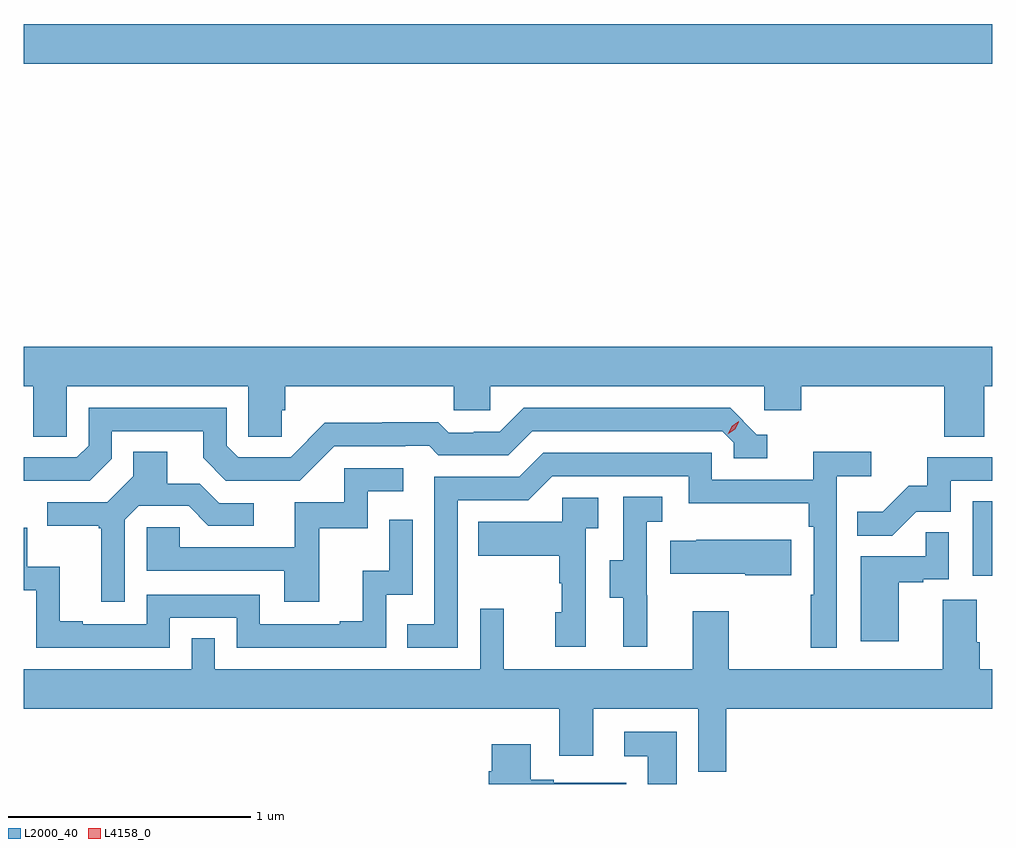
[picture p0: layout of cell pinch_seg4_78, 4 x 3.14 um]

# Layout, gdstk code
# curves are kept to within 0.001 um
import gdstk
lib = gdstk.Library(unit=1e-6, precision=1e-09)
def R(c, l, rs):  # rectangles x0, y0, x1, y1
    for r in rs: c.add(gdstk.rectangle(r[:2], r[2:], *l))
def P(c, l, *ps):  # polygons
    for p in ps: c.add(gdstk.Polygon(p, *l))
L2000_40 = (2000, 40)
L4158_0 = (4158, 0)

pinch_seg4_78 = lib.new_cell('pinch_seg4_78')
R(pinch_seg4_78, L2000_40, [(1058.69,817.35,1058.772,817.657), (1054.772,819.464,1058.772,819.628)])
P(pinch_seg4_78, L2000_40, [(1054.95,818.132),(1055.7,818.132),(1055.7,817.924),(1055.837,817.924),(1055.837,818.034),(1055.852,818.034),(1055.852,818.132),(1056.549,818.132),(1056.549,818.034),(1056.699,818.034),(1056.699,818.132),(1057.83,818.132),(1057.83,818.034),(1057.982,818.034),(1057.982,818.132),(1058.573,818.132),(1058.573,817.924),(1058.738,817.924),(1058.738,818.132),(1058.772,818.132),(1058.772,818.296),(1054.772,818.296),(1054.772,818.132),(1054.811,818.132),(1054.811,817.924),(1054.95,817.924)],
  [(1054.83,817.743),(1055.046,817.743),(1055.136,817.833),(1055.136,817.947),(1055.513,817.947),(1055.513,817.837),(1055.607,817.743),(1055.913,817.743),(1056.054,817.884),(1056.347,817.884),(1056.347,817.887),(1056.446,817.887),(1056.485,817.848),(1056.774,817.848),(1056.873,817.947),(1057.656,817.947),(1057.704,817.899),(1057.704,817.836),(1057.843,817.836),(1057.843,817.932),(1057.8,817.932),(1057.689,818.043),(1056.836,818.043),(1056.737,817.944),(1056.63,817.944),(1056.63,817.941),(1056.527,817.941),(1056.485,817.984),(1056.252,817.984),(1056.252,817.981),(1056.016,817.981),(1055.874,817.839),(1055.658,817.839),(1055.61,817.887),(1055.61,818.043),(1055.04,818.043),(1055.04,817.887),(1054.992,817.839),(1054.772,817.839),(1054.772,817.742)],
  [(1055.19,817.581),(1055.247,817.638),(1055.453,817.638),(1055.534,817.557),(1055.722,817.557),(1055.722,817.65),(1055.58,817.65),(1055.5,817.73),(1055.365,817.73),(1055.365,817.862),(1055.225,817.862),(1055.225,817.76),(1055.118,817.653),(1054.869,817.653),(1054.869,817.556),(1055.082,817.556),(1055.082,817.545),(1055.093,817.545),(1055.093,817.242),(1055.19,817.242)],
  [(1056.564,817.662),(1056.855,817.662),(1056.954,817.761),(1057.518,817.761),(1057.518,817.649),(1058.014,817.649),(1058.014,817.553),(1058.034,817.553),(1058.034,817.271),(1058.022,817.271),(1058.022,817.053),(1058.13,817.053),(1058.13,817.76),(1058.272,817.76),(1058.272,817.862),(1058.033,817.862),(1058.033,817.746),(1057.614,817.746),(1057.614,817.857),(1056.917,817.857),(1056.818,817.758),(1056.468,817.758),(1056.468,817.149),(1056.355,817.149),(1056.355,817.053),(1056.564,817.053)],
  [(1058.457,817.614),(1058.601,817.614),(1058.601,817.743),(1058.772,817.743),(1058.772,817.839),(1058.503,817.839),(1058.503,817.722),(1058.426,817.722),(1058.319,817.615),(1058.215,817.615),(1058.215,817.516),(1058.359,817.516)],
  [(1055.993,817.545),(1056.192,817.545),(1056.192,817.698),(1056.34,817.698),(1056.34,817.794),(1056.096,817.794),(1056.096,817.653),(1055.891,817.653),(1055.891,817.467),(1055.417,817.467),(1055.417,817.551),(1055.28,817.551),(1055.28,817.371),(1055.849,817.371),(1055.849,817.242),(1055.993,817.242)],
  [(1057.346,817.269),(1057.344,817.269),(1057.344,817.573),(1057.408,817.573),(1057.408,817.676),(1057.248,817.676),(1057.248,817.413),(1057.193,817.413),(1057.193,817.258),(1057.247,817.258),(1057.247,817.056),(1057.346,817.056)],
  [(1057.092,817.547),(1057.144,817.547),(1057.144,817.671),(1056.996,817.671),(1056.996,817.573),(1056.649,817.573),(1056.649,817.433),(1056.984,817.433),(1056.984,817.319),(1056.994,817.319),(1056.994,817.2),(1056.968,817.2),(1056.968,817.056),(1057.092,817.056)],
  [(1055.376,817.176),(1055.652,817.176),(1055.652,817.053),(1056.27,817.053),(1056.27,817.272),(1056.378,817.272),(1056.378,817.582),(1056.282,817.582),(1056.282,817.37),(1056.173,817.37),(1056.173,817.162),(1056.077,817.162),(1056.077,817.149),(1055.748,817.149),(1055.748,817.272),(1055.28,817.272),(1055.28,817.149),(1055.017,817.149),(1055.017,817.162),(1054.921,817.162),(1054.921,817.387),(1054.788,817.387),(1054.788,817.548),(1054.772,817.548),(1054.772,817.289),(1054.824,817.289),(1054.824,817.053),(1055.376,817.053)],
  [(1058.386,817.323),(1058.486,817.323),(1058.486,817.335),(1058.592,817.335),(1058.592,817.529),(1058.497,817.529),(1058.497,817.431),(1058.228,817.431),(1058.228,817.08),(1058.386,817.08)],
  [(1057.942,817.498),(1057.549,817.498),(1057.549,817.495),(1057.441,817.495),(1057.441,817.358),(1057.751,817.358),(1057.751,817.351),(1057.942,817.351)],
  [(1057.673,816.8),(1058.772,816.8),(1058.772,816.964),(1058.72,816.964),(1058.72,817.076),(1058.707,817.076),(1058.707,817.25),(1058.567,817.25),(1058.567,816.964),(1057.683,816.964),(1057.683,817.204),(1057.535,817.204),(1057.535,816.964),(1056.755,816.964),(1056.755,817.213),(1056.657,817.213),(1056.657,816.964),(1055.562,816.964),(1055.562,817.091),(1055.466,817.091),(1055.466,816.964),(1054.772,816.964),(1054.772,816.8),(1056.983,816.8),(1056.983,816.606),(1057.123,816.606),(1057.123,816.8),(1057.557,816.8),(1057.557,816.54),(1057.673,816.54)],
  [(1057.468,816.706),(1057.251,816.706),(1057.251,816.605),(1057.349,816.605),(1057.349,816.49),(1057.468,816.49)],
  [(1057.261,816.495),(1056.961,816.495),(1056.961,816.508),(1056.865,816.508),(1056.865,816.655),(1056.704,816.655),(1056.704,816.542),(1056.692,816.542),(1056.692,816.49),(1057.261,816.49)])
P(pinch_seg4_78, L4158_0, [(1057.679,817.934),(1057.679,817.934),(1057.695,817.967),(1057.725,817.987),(1057.725,817.987),(1057.725,817.986),(1057.71,817.954),(1057.679,817.934)])

lib.write_gds('pinch_seg4_78.gds')
